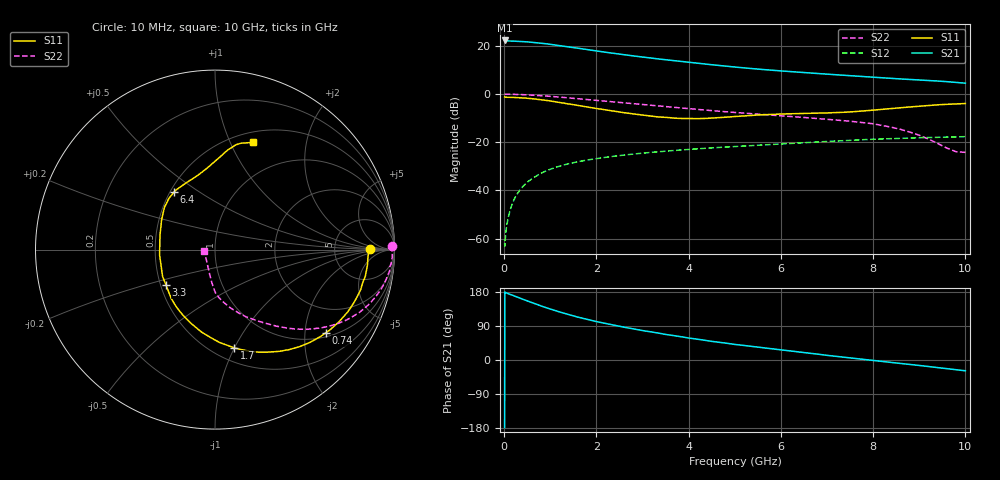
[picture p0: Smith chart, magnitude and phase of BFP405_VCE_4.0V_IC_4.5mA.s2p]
! Infineon Technologies  Discrete & RF Semiconductors
! BFP405
! VCE =  4.0 V,  IC =  4.5 mA
! Common Emitter S-Parameters:  Jan 2016
# GHz  S  MA  R  50
!  f  S11  S21  S12  S22
! GHz  MAG  ANG  MAG  ANG  MAG  ANG  MAG  ANG
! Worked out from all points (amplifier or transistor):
!   233 points, 10 MHz to 10 GHz, reference 50 ohm
!   highest |S21| = 22.2 dB at 10 MHz (marker M1)
!   |S21| within 3 dB of that: start of sweep to 1.522 GHz
!   unconditionally stable (mu >= 1): start of sweep to 17.89 MHz; 3.574 GHz to end of sweep
!   at 200 MHz: K = 0.18, MSG = 33.2 dB, |S12| = -44.4 dB
!   at 1.74 GHz: K = 0.52, MSG = 23.1 dB, |S12| = -27.6 dB
!   at 10 GHz: K = 1.46, MAG = 7.1 dB, |S12| = -17.7 dB
!   S11 on the Smith chart (normalised r, x): 10 MHz: 14, +0; 740 MHz: 1.12, -2.57; 1.7 GHz: 0.63, -1.00; 3.3 GHz: 0.53, -0.24; 6.4 GHz: 0.53, +0.40; 10 GHz: 0.61, +1.22
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0.01  0.8661 0.1  12.87 -178.4  0.0008 -24.5  0.9872 1.2
0.02  0.8563 -0.9  12.73 177.9  0.0009 55.2  0.9842 0.1
0.15  0.8524 -7.4  12.53 172.4  0.0045 79.8  0.9862 -3.4
0.4  0.8301 -20.3  12.24 160.5  0.0119 78.1  0.9703 -9.2
0.6  0.7993 -30.2  11.8 151.3  0.0174 74.0  0.9502 -13.6
0.74  0.7721 -36.9  11.44 145.3  0.0211 71.0  0.9322 -16.4
0.9  0.7395 -44.4  11.02 138.4  0.0252 68.2  0.9092 -19.7
1.14  0.6834 -55.2  10.29 129.0  0.0306 63.7  0.8717 -24.0
1.4  0.6235 -66.5  9.48 119.7  0.0358 59.6  0.8294 -28.3
1.68  0.562 -78.0  8.658 110.6  0.0408 55.8  0.7847 -32.2
1.7  0.5582 -78.8  8.601 110.0  0.0411 55.5  0.7816 -32.5
2  0.4987 -91.1  7.799 101.4  0.0458 51.9  0.7369 -36.2
2.4  0.4353 -107.2  6.897 91.2  0.0515 48.0  0.6818 -40.6
2.86  0.3801 -125.7  6.05 80.8  0.0575 44.1  0.6239 -45.1
3.3  0.3375 -143.9  5.386 71.9  0.0629 40.5  0.5717 -49.1
3.4  0.3317 -148.4  5.253 69.8  0.0642 39.7  0.5602 -50.1
4  0.3101 -174.6  4.536 58.0  0.0711 35.4  0.4968 -55.7
5.1  0.3455 148.4  3.546 39.8  0.0825 28.1  0.4072 -65.7
6.4  0.3935 125.2  2.828 21.1  0.0965 20.4  0.3312 -75.8
6.8  0.4001 117.5  2.657 15.4  0.1012 17.8  0.3094 -79.0
8.4  0.5002 88.9  2.104 -6.6  0.1187 5.5  0.2046 -93.1
10  0.6341 70.4  1.675 -28.5  0.1304 -6.2  0.0616 -174.2
